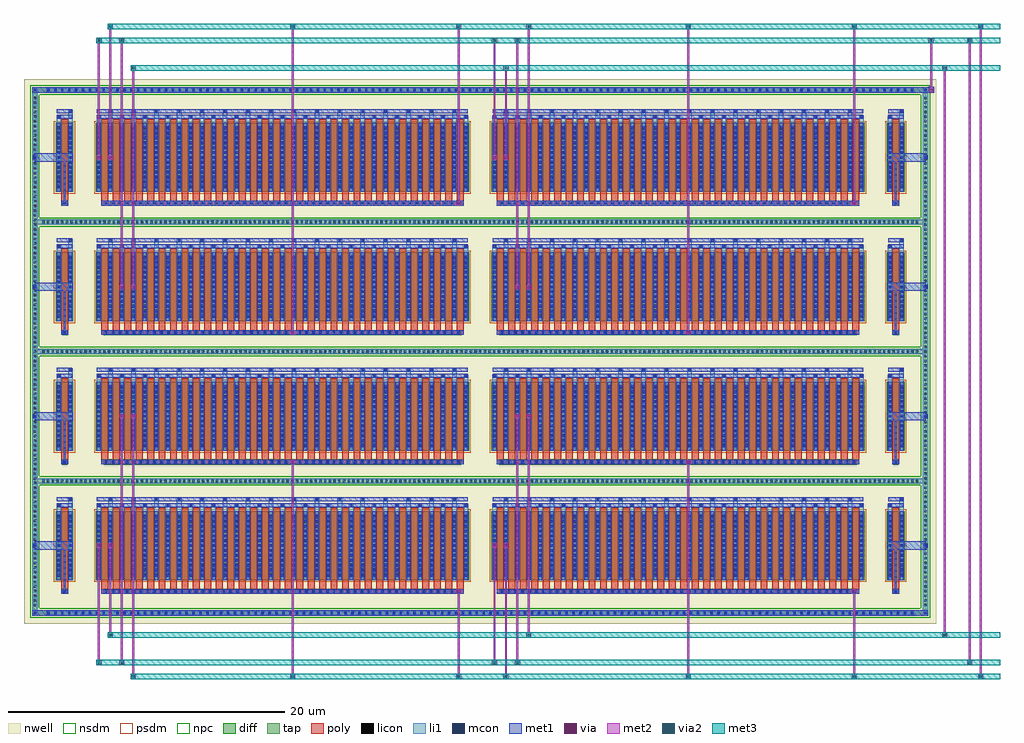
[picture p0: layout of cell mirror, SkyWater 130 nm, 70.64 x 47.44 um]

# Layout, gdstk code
import gdstk
lib = gdstk.Library(unit=1e-6, precision=5e-09)
def R(c, l, rs):  # rectangles x0, y0, x1, y1
    for r in rs: c.add(gdstk.rectangle(r[:2], r[2:], *l))
def A(c, l, x, y, w, h, nx, ny, dx, dy):  # array of equal rectangles
    R(c, l, [(x+i*dx, y+j*dy, x+i*dx+w, y+j*dy+h) for i in range(nx) for j in range(ny)])
def P(c, l, *ps):  # polygons
    for p in ps: c.add(gdstk.Polygon(p, *l))
nwell = (64, 20)
diff = (65, 20)
tap = (65, 44)
poly = (66, 20)
licon = (66, 44)
li1 = (67, 20)
mcon = (67, 44)
met1 = (68, 20)
via = (68, 44)
met2 = (69, 20)
via2 = (69, 44)
met3 = (70, 20)
nsdm = (93, 44)
psdm = (94, 20)
npc = (95, 20)

unnamed_b2a65e22 = lib.new_cell('Unnamed_b2a65e22')
R(unnamed_b2a65e22, nwell, [(-13.815,-3.68,13.815,3.685)])
R(unnamed_b2a65e22, diff, [(-13.505,-2.5,13.505,2.5)])
A(unnamed_b2a65e22, poly, -12.915, -3.48, 0.33, 0.33, 52, 1, 0.5, 0)
A(unnamed_b2a65e22, poly, -13.115, -3.15, 0.5, 0.4, 32, 1, 0.83, 0)
A(unnamed_b2a65e22, poly, -13.115, -2.75, 0.5, 5.5, 32, 1, 0.83, 0)
R(unnamed_b2a65e22, poly, [(-13.115,-3.48,13.115,-3.15)])
A(unnamed_b2a65e22, licon, -12.835, -3.4, 0.17, 0.17, 52, 1, 0.5, 0)
A(unnamed_b2a65e22, licon, -13.365, -2.125, 0.17, 0.17, 33, 13, 0.83, 0.34)
A(unnamed_b2a65e22, li1, -12.915, -3.48, 0.33, 0.33, 52, 1, 0.5, 0)
A(unnamed_b2a65e22, li1, -13.445, -2.5, 0.33, 5, 33, 1, 0.83, 0)
A(unnamed_b2a65e22, li1, -13.365, -2.245, 0.17, 0.17, 33, 13, 0.83, 0.36)
A(unnamed_b2a65e22, li1, -13.365, -2.245, 0.17, 4.49, 33, 1, 0.83, 0)
A(unnamed_b2a65e22, li1, -13.445, -2.205, 0.33, 0.33, 33, 13, 0.83, 0.34)
A(unnamed_b2a65e22, li1, -13.445, 2.5, 0.33, 0.515, 17, 1, 1.66, 0)
A(unnamed_b2a65e22, li1, -12.615, 2.5, 0.33, 0.945, 16, 1, 1.66, 0)
A(unnamed_b2a65e22, li1, -13.365, 2.845, 0.17, 0.17, 17, 1, 1.66, 0)
A(unnamed_b2a65e22, li1, -12.535, 3.275, 0.17, 0.17, 16, 1, 1.66, 0)
A(unnamed_b2a65e22, mcon, -12.835, -3.4, 0.17, 0.17, 52, 1, 0.5, 0)
A(unnamed_b2a65e22, mcon, -13.365, -2.245, 0.17, 0.17, 33, 13, 0.83, 0.36)
A(unnamed_b2a65e22, mcon, -13.365, 2.845, 0.17, 0.17, 17, 1, 1.66, 0)
A(unnamed_b2a65e22, mcon, -12.535, 3.275, 0.17, 0.17, 16, 1, 1.66, 0)
A(unnamed_b2a65e22, met1, -12.895, -3.46, 0.29, 0.29, 52, 1, 0.5, 0)
A(unnamed_b2a65e22, met1, -13.425, -2.5, 0.29, 5, 33, 1, 0.83, 0)
A(unnamed_b2a65e22, met1, -13.425, -2.305, 0.29, 0.29, 33, 13, 0.83, 0.36)
A(unnamed_b2a65e22, met1, -13.425, 2.785, 0.29, 0.29, 17, 1, 1.66, 0)
A(unnamed_b2a65e22, met1, -12.595, 3.215, 0.29, 0.29, 16, 1, 1.66, 0)
R(unnamed_b2a65e22, met1, [(-13.115,-3.48,13.115,-3.15), (-13.425,2.785,13.425,3.075), (-13.425,3.215,13.425,3.505)])
R(unnamed_b2a65e22, psdm, [(-13.635,-2.63,13.635,2.63)])
A(unnamed_b2a65e22, npc, -12.935, -3.5, 0.37, 0.37, 52, 1, 0.5, 0)
R(unnamed_b2a65e22, npc, [(-12.935,-3.5,-12.065,-3.13), (-12.935,-3.5,-12.065,-3.13), (-12.435,-3.5,-11.565,-3.13), (-12.435,-3.5,-11.565,-3.13), (-11.935,-3.5,-11.065,-3.13), (-11.935,-3.5,-11.065,-3.13), (-11.435,-3.5,-10.565,-3.13), (-11.435,-3.5,-10.565,-3.13), (-10.935,-3.5,-10.065,-3.13), (-10.935,-3.5,-10.065,-3.13), (-10.435,-3.5,-9.565,-3.13), (-10.435,-3.5,-9.565,-3.13), (-9.935,-3.5,-9.065,-3.13), (-9.935,-3.5,-9.065,-3.13), (-9.435,-3.5,-8.565,-3.13), (-9.435,-3.5,-8.565,-3.13), (-8.935,-3.5,-8.065,-3.13), (-8.935,-3.5,-8.065,-3.13), (-8.435,-3.5,-7.565,-3.13), (-8.435,-3.5,-7.565,-3.13), (-7.935,-3.5,-7.065,-3.13), (-7.935,-3.5,-7.065,-3.13), (-7.435,-3.5,-6.565,-3.13), (-7.435,-3.5,-6.565,-3.13), (-6.935,-3.5,-6.065,-3.13), (-6.935,-3.5,-6.065,-3.13), (-6.435,-3.5,-5.565,-3.13), (-6.435,-3.5,-5.565,-3.13), (-5.935,-3.5,-5.065,-3.13), (-5.935,-3.5,-5.065,-3.13), (-5.435,-3.5,-4.565,-3.13), (-5.435,-3.5,-4.565,-3.13), (-4.935,-3.5,-4.065,-3.13), (-4.935,-3.5,-4.065,-3.13), (-4.435,-3.5,-3.565,-3.13), (-4.435,-3.5,-3.565,-3.13), (-3.935,-3.5,-3.065,-3.13), (-3.935,-3.5,-3.065,-3.13), (-3.435,-3.5,-2.565,-3.13), (-3.435,-3.5,-2.565,-3.13), (-2.935,-3.5,-2.065,-3.13), (-2.935,-3.5,-2.065,-3.13), (-2.435,-3.5,-1.565,-3.13), (-2.435,-3.5,-1.565,-3.13), (-1.935,-3.5,-1.065,-3.13), (-1.935,-3.5,-1.065,-3.13), (-1.435,-3.5,-0.565,-3.13), (-1.435,-3.5,-0.565,-3.13), (-0.935,-3.5,-0.065,-3.13), (-0.935,-3.5,-0.065,-3.13), (-0.435,-3.5,0.435,-3.13), (-0.435,-3.5,0.435,-3.13), (0.065,-3.5,0.935,-3.13), (0.065,-3.5,0.935,-3.13), (0.565,-3.5,1.435,-3.13), (0.565,-3.5,1.435,-3.13), (1.065,-3.5,1.935,-3.13), (1.065,-3.5,1.935,-3.13), (1.565,-3.5,2.435,-3.13), (1.565,-3.5,2.435,-3.13), (2.065,-3.5,2.935,-3.13), (2.065,-3.5,2.935,-3.13), (2.565,-3.5,3.435,-3.13), (2.565,-3.5,3.435,-3.13), (3.065,-3.5,3.935,-3.13), (3.065,-3.5,3.935,-3.13), (3.565,-3.5,4.435,-3.13), (3.565,-3.5,4.435,-3.13), (4.065,-3.5,4.935,-3.13), (4.065,-3.5,4.935,-3.13), (4.565,-3.5,5.435,-3.13), (4.565,-3.5,5.435,-3.13), (5.065,-3.5,5.935,-3.13), (5.065,-3.5,5.935,-3.13), (5.565,-3.5,6.435,-3.13), (5.565,-3.5,6.435,-3.13), (6.065,-3.5,6.935,-3.13), (6.065,-3.5,6.935,-3.13), (6.565,-3.5,7.435,-3.13), (6.565,-3.5,7.435,-3.13), (7.065,-3.5,7.935,-3.13), (7.065,-3.5,7.935,-3.13), (7.565,-3.5,8.435,-3.13), (7.565,-3.5,8.435,-3.13), (8.065,-3.5,8.935,-3.13), (8.065,-3.5,8.935,-3.13), (8.565,-3.5,9.435,-3.13), (8.565,-3.5,9.435,-3.13), (9.065,-3.5,9.935,-3.13), (9.065,-3.5,9.935,-3.13), (9.565,-3.5,10.435,-3.13), (9.565,-3.5,10.435,-3.13), (10.065,-3.5,10.935,-3.13), (10.065,-3.5,10.935,-3.13), (10.565,-3.5,11.435,-3.13), (10.565,-3.5,11.435,-3.13), (11.065,-3.5,11.935,-3.13), (11.065,-3.5,11.935,-3.13), (11.565,-3.5,12.435,-3.13), (11.565,-3.5,12.435,-3.13), (12.065,-3.5,12.935,-3.13), (12.065,-3.5,12.935,-3.13)])

unnamed_e067d8c7 = lib.new_cell('Unnamed_e067d8c7')
R(unnamed_e067d8c7, nwell, [(-0.95,-3.68,0.95,3.685)])
R(unnamed_e067d8c7, diff, [(-0.64,-2.5,0.64,2.5)])
R(unnamed_e067d8c7, poly, [(-0.25,-3.48,0.25,-3.15), (-0.165,-3.48,0.165,-3.15), (-0.25,-3.15,0.25,-2.75), (-0.25,-2.75,0.25,2.75)])
A(unnamed_e067d8c7, licon, -0.5, -2.125, 0.17, 0.17, 1, 13, 0, 0.34)
A(unnamed_e067d8c7, licon, 0.33, -2.125, 0.17, 0.17, 1, 13, 0, 0.34)
R(unnamed_e067d8c7, licon, [(-0.085,-3.4,0.085,-3.23)])
A(unnamed_e067d8c7, li1, -0.5, -2.245, 0.17, 0.17, 1, 13, 0, 0.36)
A(unnamed_e067d8c7, li1, 0.33, -2.245, 0.17, 0.17, 1, 13, 0, 0.36)
A(unnamed_e067d8c7, li1, -0.58, -2.205, 0.33, 0.33, 1, 13, 0, 0.34)
A(unnamed_e067d8c7, li1, 0.25, -2.205, 0.33, 0.33, 1, 13, 0, 0.34)
R(unnamed_e067d8c7, li1, [(-0.165,-3.48,0.165,-3.15), (-0.58,-2.5,-0.25,2.5), (0.25,-2.5,0.58,2.5), (-0.5,-2.245,-0.33,2.245), (0.33,-2.245,0.5,2.245), (-0.58,2.5,-0.25,3.015), (0.25,2.5,0.58,3.445), (-0.5,2.845,-0.33,3.015), (0.33,3.275,0.5,3.445)])
A(unnamed_e067d8c7, mcon, -0.5, -2.245, 0.17, 0.17, 1, 13, 0, 0.36)
A(unnamed_e067d8c7, mcon, 0.33, -2.245, 0.17, 0.17, 1, 13, 0, 0.36)
R(unnamed_e067d8c7, mcon, [(-0.085,-3.4,0.085,-3.23), (-0.5,2.845,-0.33,3.015), (0.33,3.275,0.5,3.445)])
A(unnamed_e067d8c7, met1, -0.56, -2.305, 0.29, 0.29, 1, 13, 0, 0.36)
A(unnamed_e067d8c7, met1, 0.27, -2.305, 0.29, 0.29, 1, 13, 0, 0.36)
R(unnamed_e067d8c7, met1, [(-0.25,-3.48,0.25,-3.15), (-0.145,-3.46,0.145,-3.17), (-0.56,-2.5,-0.27,2.5), (0.27,-2.5,0.56,2.5), (-0.56,2.785,-0.27,3.075), (-0.56,2.785,0.56,3.075), (-0.56,3.215,0.56,3.505), (0.27,3.215,0.56,3.505)])
R(unnamed_e067d8c7, psdm, [(-0.77,-2.63,0.77,2.63)])
R(unnamed_e067d8c7, npc, [(-0.185,-3.5,0.185,-3.13), (-0.185,-3.5,0.185,-3.13)])

unnamed_dd49c0f9_1 = lib.new_cell('Unnamed_dd49c0f9$1')
R(unnamed_dd49c0f9_1, nwell, [(-32.62,-19.32,32.62,19.32)])
A(unnamed_dd49c0f9_1, diff, -31.455, -19.14, 0.41, 0.41, 126, 2, 0.5, 37.87)
A(unnamed_dd49c0f9_1, diff, -32.44, -18.565, 0.41, 0.41, 1, 109, 0, 0.34)
A(unnamed_dd49c0f9_1, diff, 32.03, -18.565, 0.41, 0.41, 1, 109, 0, 0.34)
R(unnamed_dd49c0f9_1, diff, [(-31.455,-19.14,31.455,-18.73), (-32.44,-18.565,-32.03,18.565), (32.03,-18.565,32.44,18.565), (-31.455,18.73,31.455,19.14)])
P(unnamed_dd49c0f9_1, diff, [(32.44,19.14),(-32.44,19.14),(-32.44,-18.73),(-32.03,-18.73),(-32.03,18.73),(32.03,18.73),(32.03,-18.73),(-32.03,-18.73),(-32.44,-18.73),(-32.44,-19.14),(32.44,-19.14)])
A(unnamed_dd49c0f9_1, licon, -31.335, -19.02, 0.17, 0.17, 126, 2, 0.5, 37.87)
A(unnamed_dd49c0f9_1, licon, -32.32, -18.445, 0.17, 0.17, 1, 109, 0, 0.34)
A(unnamed_dd49c0f9_1, licon, 32.15, -18.445, 0.17, 0.17, 1, 109, 0, 0.34)
A(unnamed_dd49c0f9_1, li1, -31.415, -19.1, 0.33, 0.33, 126, 2, 0.5, 37.87)
A(unnamed_dd49c0f9_1, li1, -32.4, -18.525, 0.33, 0.33, 1, 109, 0, 0.34)
A(unnamed_dd49c0f9_1, li1, 32.07, -18.525, 0.33, 0.33, 1, 109, 0, 0.34)
R(unnamed_dd49c0f9_1, li1, [(-32.44,-19.14,-32.03,-18.73), (32.03,-19.14,32.44,-18.73), (-31.415,-19.1,31.415,-18.77), (-32.32,-19.02,-32.15,-18.85), (-32.32,-19.02,-32.15,-18.85), (32.15,-19.02,32.32,-18.85), (32.15,-19.02,32.32,-18.85), (-32.44,-18.73,-32.03,18.73), (32.03,-18.73,32.44,18.73), (-32.44,18.73,-32.03,19.14), (32.03,18.73,32.44,19.14), (-31.415,18.77,31.415,19.1), (-32.32,18.85,-32.15,19.02), (-32.32,18.85,-32.15,19.02), (32.15,18.85,32.32,19.02), (32.15,18.85,32.32,19.02)])
A(unnamed_dd49c0f9_1, mcon, -31.335, -19.02, 0.17, 0.17, 126, 2, 0.5, 37.87)
R(unnamed_dd49c0f9_1, mcon, [(-32.32,-19.02,-32.15,-18.85), (32.15,-19.02,32.32,-18.85), (-32.32,18.85,-32.15,19.02), (32.15,18.85,32.32,19.02)])
A(unnamed_dd49c0f9_1, met1, -31.395, -19.08, 0.29, 0.29, 126, 2, 0.5, 37.87)
R(unnamed_dd49c0f9_1, met1, [(-32.44,-19.14,-32.03,-18.73), (-32.44,-19.14,-32.03,-18.73), (-32.03,-19.14,32.03,-18.73), (32.03,-19.14,32.44,-18.73), (32.03,-19.14,32.44,-18.73), (-32.38,-19.08,-32.09,-18.79), (32.09,-19.08,32.38,-18.79), (-32.44,18.73,-32.03,19.14), (-32.44,18.73,-32.03,19.14), (-32.03,18.73,32.03,19.14), (32.03,18.73,32.44,19.14), (32.03,18.73,32.44,19.14), (-32.38,18.79,-32.09,19.08), (32.09,18.79,32.38,19.08)])
P(unnamed_dd49c0f9_1, nsdm, [(32.57,19.27),(-32.57,19.27),(-32.57,-18.6),(-31.9,-18.6),(-31.9,18.6),(31.9,18.6),(31.9,-18.6),(-31.9,-18.6),(-32.57,-18.6),(-32.57,-19.27),(32.57,-19.27)])

via_stack_9ce972bd_8 = lib.new_cell('via_stack_9ce972bd$8')
R(via_stack_9ce972bd_8, li1, [(-0.085,-0.085,0.085,0.085)])
R(via_stack_9ce972bd_8, mcon, [(-0.085,-0.085,0.085,0.085)])
R(via_stack_9ce972bd_8, met1, [(-0.145,-0.145,0.145,0.145)])

via_stack_9ce972bd_9 = lib.new_cell('via_stack_9ce972bd$9')
R(via_stack_9ce972bd_9, li1, [(-0.085,-0.085,0.085,0.085)])
R(via_stack_9ce972bd_9, mcon, [(-0.085,-0.085,0.085,0.085)])
R(via_stack_9ce972bd_9, met1, [(-0.145,-0.145,0.145,0.145)])

via_stack_9ce972bd_10 = lib.new_cell('via_stack_9ce972bd$10')
R(via_stack_9ce972bd_10, li1, [(-0.085,-0.085,0.085,0.085)])
R(via_stack_9ce972bd_10, mcon, [(-0.085,-0.085,0.085,0.085)])
R(via_stack_9ce972bd_10, met1, [(-0.145,-0.145,0.145,0.145)])

via_stack_9ce972bd_11 = lib.new_cell('via_stack_9ce972bd$11')
R(via_stack_9ce972bd_11, li1, [(-0.085,-0.085,0.085,0.085)])
R(via_stack_9ce972bd_11, mcon, [(-0.085,-0.085,0.085,0.085)])
R(via_stack_9ce972bd_11, met1, [(-0.145,-0.145,0.145,0.145)])

via_stack_9ce972bd_12 = lib.new_cell('via_stack_9ce972bd$12')
R(via_stack_9ce972bd_12, li1, [(-0.085,-0.085,0.085,0.085)])
R(via_stack_9ce972bd_12, mcon, [(-0.085,-0.085,0.085,0.085)])
R(via_stack_9ce972bd_12, met1, [(-0.145,-0.145,0.145,0.145)])

via_stack_9ce972bd_13 = lib.new_cell('via_stack_9ce972bd$13')
R(via_stack_9ce972bd_13, li1, [(-0.085,-0.085,0.085,0.085)])
R(via_stack_9ce972bd_13, mcon, [(-0.085,-0.085,0.085,0.085)])
R(via_stack_9ce972bd_13, met1, [(-0.145,-0.145,0.145,0.145)])

via_stack_9ce972bd_14 = lib.new_cell('via_stack_9ce972bd$14')
R(via_stack_9ce972bd_14, li1, [(-0.085,-0.085,0.085,0.085)])
R(via_stack_9ce972bd_14, mcon, [(-0.085,-0.085,0.085,0.085)])
R(via_stack_9ce972bd_14, met1, [(-0.145,-0.145,0.145,0.145)])

via_stack_9ce972bd_15 = lib.new_cell('via_stack_9ce972bd$15')
R(via_stack_9ce972bd_15, li1, [(-0.085,-0.085,0.085,0.085)])
R(via_stack_9ce972bd_15, mcon, [(-0.085,-0.085,0.085,0.085)])
R(via_stack_9ce972bd_15, met1, [(-0.145,-0.145,0.145,0.145)])

via_stack_22ee024c = lib.new_cell('via_stack_22ee024c')
R(via_stack_22ee024c, met1, [(-0.215,-0.215,0.215,0.215)])
R(via_stack_22ee024c, via, [(-0.075,-0.075,0.075,0.075)])
R(via_stack_22ee024c, met2, [(-0.165,-0.165,0.165,0.165)])

mirror = lib.new_cell('mirror')
R(mirror, nwell, [(-1.99,-37.45,64.05,1.99)])
A(mirror, tap, -1.205, -27.3, 64.47, 0.41, 1, 3, 0, 9.365)
A(mirror, licon, -0.675, -27.18, 0.17, 0.17, 187, 3, 0.34, 9.365)
A(mirror, li1, -1.205, -27.26, 64.47, 0.33, 1, 3, 0, 9.365)
A(mirror, met1, 0.88, -35.165, 0.14, 3.385, 1, 4, 0, 9.365)
A(mirror, met1, 61.04, -35.165, 0.14, 3.385, 1, 4, 0, 9.365)
A(mirror, met1, -1.205, -32.08, 2.77, 0.6, 1, 4, 0, 9.365)
A(mirror, met1, 60.495, -32.08, 2.77, 0.6, 1, 4, 0, 9.365)
R(mirror, met1, [(29.305,-35.255,29.625,-34.935), (57.935,-35.255,58.255,-34.935), (3.275,-31.94,3.595,-31.62), (4.105,-31.94,4.425,-31.62), (31.905,-31.94,32.225,-31.62), (32.735,-31.94,33.055,-31.62), (17.305,-25.89,17.625,-25.57), (45.935,-25.89,46.255,-25.57), (4.935,-22.575,5.255,-22.255), (5.765,-22.575,6.085,-22.255), (33.565,-22.575,33.885,-22.255), (34.395,-22.575,34.715,-22.255), (17.305,-16.525,17.625,-16.205), (45.935,-16.525,46.255,-16.205), (4.935,-13.21,5.255,-12.89), (5.765,-13.21,6.085,-12.89), (33.565,-13.21,33.885,-12.89), (34.395,-13.21,34.715,-12.89), (29.305,-7.16,29.625,-6.84), (57.935,-7.16,58.255,-6.84), (3.275,-3.845,3.595,-3.525), (4.105,-3.845,4.425,-3.525), (31.905,-3.845,32.225,-3.525), (32.735,-3.845,33.055,-3.525)])
R(mirror, via, [(29.39,-35.17,29.54,-35.02), (58.02,-35.17,58.17,-35.02), (3.36,-31.855,3.51,-31.705), (4.19,-31.855,4.34,-31.705), (31.99,-31.855,32.14,-31.705), (32.82,-31.855,32.97,-31.705), (17.39,-25.805,17.54,-25.655), (46.02,-25.805,46.17,-25.655), (5.02,-22.49,5.17,-22.34), (5.85,-22.49,6,-22.34), (33.65,-22.49,33.8,-22.34), (34.48,-22.49,34.63,-22.34), (17.39,-16.44,17.54,-16.29), (46.02,-16.44,46.17,-16.29), (5.02,-13.125,5.17,-12.975), (5.85,-13.125,6,-12.975), (33.65,-13.125,33.8,-12.975), (34.48,-13.125,34.63,-12.975), (29.39,-7.075,29.54,-6.925), (58.02,-7.075,58.17,-6.925), (3.36,-3.76,3.51,-3.61), (4.19,-3.76,4.34,-3.61), (31.99,-3.76,32.14,-3.61), (32.82,-3.76,32.97,-3.61)])
R(mirror, met2, [(5.74,-41.435,6.11,-41.065), (17.28,-41.435,17.65,-41.065), (29.28,-41.435,29.65,-41.065), (32.71,-41.435,33.08,-41.065), (45.91,-41.435,46.28,-41.065), (57.91,-41.435,58.28,-41.065), (67.065,-41.435,67.435,-41.065), (5.855,-41.25,5.995,-22.415), (17.395,-41.25,17.535,-25.73), (29.395,-41.25,29.535,-35.095), (32.825,-41.25,32.965,-31.78), (46.025,-41.25,46.165,-25.73), (58.025,-41.25,58.165,-35.095), (67.18,-41.25,67.32,5.79), (3.25,-40.435,3.62,-40.065), (4.91,-40.435,5.28,-40.065), (31.88,-40.435,32.25,-40.065), (33.54,-40.435,33.91,-40.065), (66.265,-40.435,66.635,-40.065), (3.365,-40.25,3.505,-31.78), (5.025,-40.25,5.165,-22.415), (31.995,-40.25,32.135,-31.78), (33.655,-40.25,33.795,-22.415), (66.38,-40.25,66.52,4.79), (4.08,-38.435,4.45,-38.065), (34.37,-38.435,34.74,-38.065), (64.465,-38.435,64.835,-38.065), (4.195,-38.25,4.335,-31.78), (34.485,-38.25,34.625,-22.415), (64.58,-38.25,64.72,2.79), (29.305,-35.255,29.625,-34.935), (57.935,-35.255,58.255,-34.935), (3.275,-31.94,3.595,-31.62), (4.105,-31.94,4.425,-31.62), (31.905,-31.94,32.225,-31.62), (32.735,-31.94,33.055,-31.62), (17.305,-25.89,17.625,-25.57), (45.935,-25.89,46.255,-25.57), (4.935,-22.575,5.255,-22.255), (5.765,-22.575,6.085,-22.255), (33.565,-22.575,33.885,-22.255), (34.395,-22.575,34.715,-22.255), (17.305,-16.525,17.625,-16.205), (45.935,-16.525,46.255,-16.205), (17.395,-16.365,17.535,5.79), (46.025,-16.365,46.165,5.79), (4.935,-13.21,5.255,-12.89), (5.765,-13.21,6.085,-12.89), (33.565,-13.21,33.885,-12.89), (34.395,-13.21,34.715,-12.89), (5.025,-13.05,5.165,4.79), (5.855,-13.05,5.995,2.79), (33.655,-13.05,33.795,4.79), (34.485,-13.05,34.625,5.79), (29.305,-7.16,29.625,-6.84), (57.935,-7.16,58.255,-6.84), (29.395,-7,29.535,5.79), (58.025,-7,58.165,5.79), (3.275,-3.845,3.595,-3.525), (4.105,-3.845,4.425,-3.525), (31.905,-3.845,32.225,-3.525), (32.735,-3.845,33.055,-3.525), (3.365,-3.685,3.505,4.79), (4.195,-3.685,4.335,5.79), (31.995,-3.685,32.135,4.79), (32.825,-3.685,32.965,2.79), (63.59,1.205,63.73,4.79), (5.74,2.605,6.11,2.975), (32.71,2.605,33.08,2.975), (64.465,2.605,64.835,2.975), (3.25,4.605,3.62,4.975), (4.91,4.605,5.28,4.975), (31.88,4.605,32.25,4.975), (33.54,4.605,33.91,4.975), (63.475,4.605,63.845,4.975), (66.265,4.605,66.635,4.975), (4.08,5.605,4.45,5.975), (17.28,5.605,17.65,5.975), (29.28,5.605,29.65,5.975), (34.37,5.605,34.74,5.975), (45.91,5.605,46.28,5.975), (57.91,5.605,58.28,5.975), (67.065,5.605,67.435,5.975)])
R(mirror, via2, [(5.825,-41.35,6.025,-41.15), (17.365,-41.35,17.565,-41.15), (29.365,-41.35,29.565,-41.15), (32.795,-41.35,32.995,-41.15), (45.995,-41.35,46.195,-41.15), (57.995,-41.35,58.195,-41.15), (67.15,-41.35,67.35,-41.15), (3.335,-40.35,3.535,-40.15), (4.995,-40.35,5.195,-40.15), (31.965,-40.35,32.165,-40.15), (33.625,-40.35,33.825,-40.15), (66.35,-40.35,66.55,-40.15), (4.165,-38.35,4.365,-38.15), (34.455,-38.35,34.655,-38.15), (64.55,-38.35,64.75,-38.15), (5.825,2.69,6.025,2.89), (32.795,2.69,32.995,2.89), (64.55,2.69,64.75,2.89), (3.335,4.69,3.535,4.89), (4.995,4.69,5.195,4.89), (31.965,4.69,32.165,4.89), (33.625,4.69,33.825,4.89), (63.56,4.69,63.76,4.89), (66.35,4.69,66.55,4.89), (4.165,5.69,4.365,5.89), (17.365,5.69,17.565,5.89), (29.365,5.69,29.565,5.89), (34.455,5.69,34.655,5.89), (45.995,5.69,46.195,5.89), (57.995,5.69,58.195,5.89), (67.15,5.69,67.35,5.89)])
R(mirror, met3, [(5.725,-41.45,6.125,-41.05), (5.725,-41.45,68.65,-41.05), (17.265,-41.45,17.665,-41.05), (29.265,-41.45,29.665,-41.05), (32.695,-41.45,33.095,-41.05), (45.895,-41.45,46.295,-41.05), (57.895,-41.45,58.295,-41.05), (67.05,-41.45,67.45,-41.05), (3.235,-40.45,3.635,-40.05), (3.235,-40.45,68.65,-40.05), (4.895,-40.45,5.295,-40.05), (31.865,-40.45,32.265,-40.05), (33.525,-40.45,33.925,-40.05), (66.25,-40.45,66.65,-40.05), (4.065,-38.45,4.465,-38.05), (4.065,-38.45,68.65,-38.05), (34.355,-38.45,34.755,-38.05), (64.45,-38.45,64.85,-38.05), (5.725,2.59,6.125,2.99), (5.725,2.59,68.65,2.99), (32.695,2.59,33.095,2.99), (64.45,2.59,64.85,2.99), (3.235,4.59,3.635,4.99), (3.235,4.59,68.65,4.99), (4.895,4.59,5.295,4.99), (31.865,4.59,32.265,4.99), (33.525,4.59,33.925,4.99), (63.46,4.59,63.86,4.99), (66.25,4.59,66.65,4.99), (4.065,5.59,4.465,5.99), (4.065,5.59,68.65,5.99), (17.265,5.59,17.665,5.99), (29.265,5.59,29.665,5.99), (34.355,5.59,34.755,5.99), (45.895,5.59,46.295,5.99), (57.895,5.59,58.295,5.99), (67.05,5.59,67.45,5.99)])
A(mirror, nsdm, -1.205, -27.425, 64.47, 0.66, 1, 3, 0, 9.365)
mirror.add(gdstk.Reference(unnamed_b2a65e22, (16.715,-3.685)))
mirror.add(gdstk.Reference(unnamed_b2a65e22, (45.345,-3.685)))
mirror.add(gdstk.Reference(unnamed_b2a65e22, (16.715,-13.05)))
mirror.add(gdstk.Reference(unnamed_b2a65e22, (45.345,-13.05)))
mirror.add(gdstk.Reference(unnamed_b2a65e22, (16.715,-22.415)))
mirror.add(gdstk.Reference(unnamed_b2a65e22, (45.345,-22.415)))
mirror.add(gdstk.Reference(unnamed_b2a65e22, (16.715,-31.78)))
mirror.add(gdstk.Reference(unnamed_b2a65e22, (45.345,-31.78)))
mirror.add(gdstk.Reference(unnamed_e067d8c7, (0.95,-3.685)))
mirror.add(gdstk.Reference(unnamed_e067d8c7, (61.11,-3.685)))
mirror.add(gdstk.Reference(unnamed_e067d8c7, (0.95,-13.05)))
mirror.add(gdstk.Reference(unnamed_e067d8c7, (61.11,-13.05)))
mirror.add(gdstk.Reference(unnamed_e067d8c7, (0.95,-22.415)))
mirror.add(gdstk.Reference(unnamed_e067d8c7, (61.11,-22.415)))
mirror.add(gdstk.Reference(unnamed_e067d8c7, (0.95,-31.78)))
mirror.add(gdstk.Reference(unnamed_e067d8c7, (61.11,-31.78)))
mirror.add(gdstk.Reference(unnamed_dd49c0f9_1, (31.03,-17.73)))
mirror.add(gdstk.Reference(via_stack_9ce972bd_8, (-1.205,-3.685)))
mirror.add(gdstk.Reference(via_stack_9ce972bd_9, (63.265,-3.685)))
mirror.add(gdstk.Reference(via_stack_9ce972bd_10, (-1.205,-13.05)))
mirror.add(gdstk.Reference(via_stack_9ce972bd_11, (63.265,-13.05)))
mirror.add(gdstk.Reference(via_stack_9ce972bd_12, (-1.205,-22.415)))
mirror.add(gdstk.Reference(via_stack_9ce972bd_13, (63.265,-22.415)))
mirror.add(gdstk.Reference(via_stack_9ce972bd_14, (-1.205,-31.78)))
mirror.add(gdstk.Reference(via_stack_9ce972bd_15, (63.265,-31.78)))
mirror.add(gdstk.Reference(via_stack_22ee024c, (63.66,1.205)))

lib.write_gds('mirror.gds')
